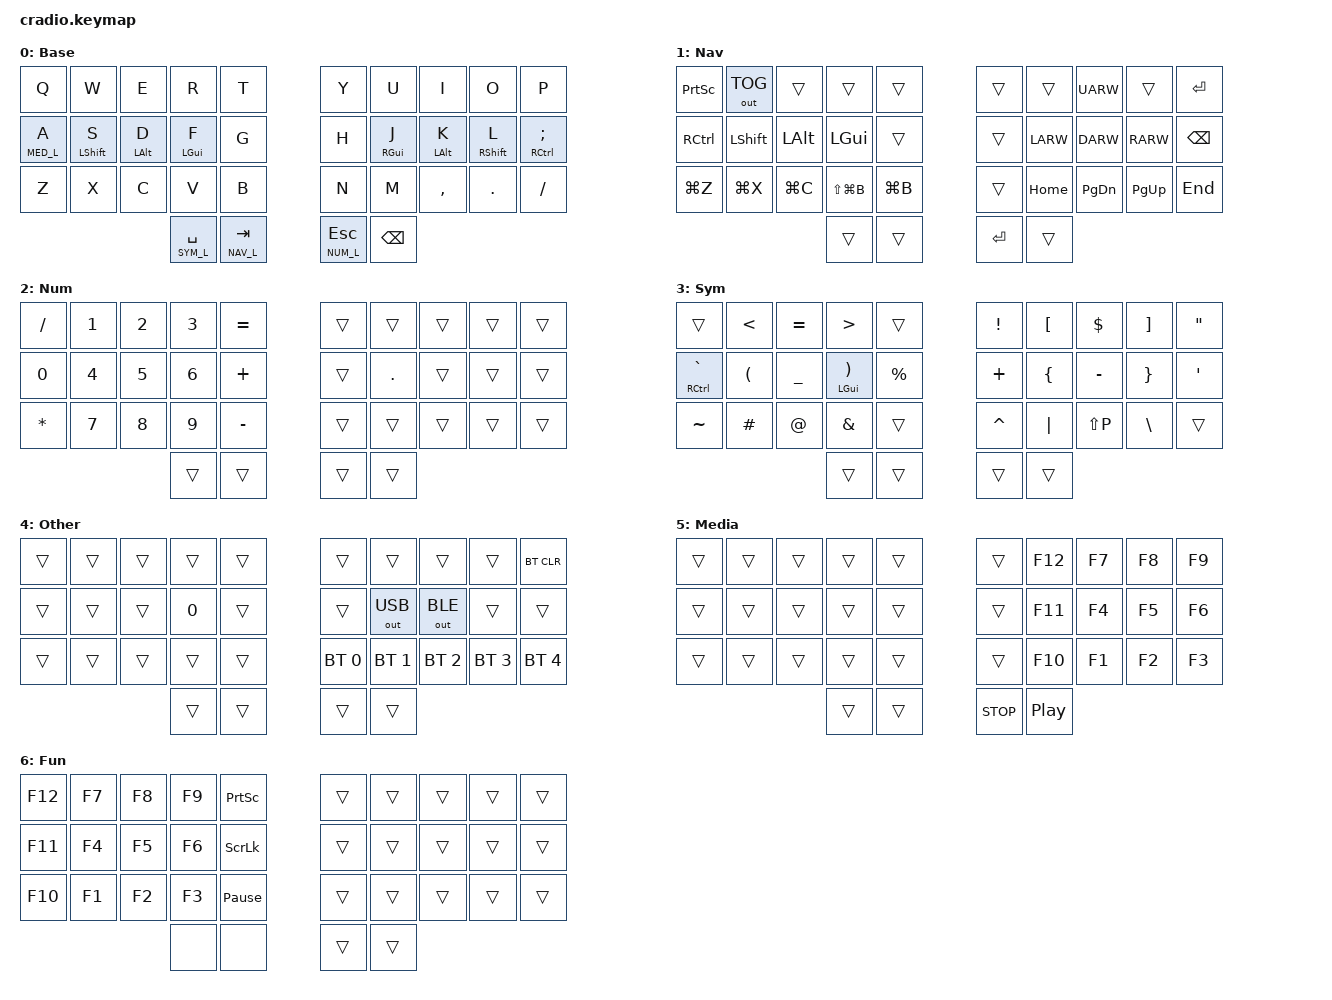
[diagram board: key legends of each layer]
/*
 * Copyright (c) 2021 Pete Johanson
 *
 * SPDX-License-Identifier: MIT
 */

#include <behaviors.dtsi>
#include <dt-bindings/zmk/keys.h>
#include <dt-bindings/zmk/bt.h>
#include <dt-bindings/zmk/outputs.h>

#define NAV_L 1
#define OTH_L 4
#define NUM_L 2
#define SYM_L 3
#define MED_L 5
#define FUN_L 6

// Using layer taps on thumbs, having quick tap as well helps w/ repeating space/backspace 
&lt { quick_tap_ms = <200>; };
/ {
     prog_caps: behavior_prog_caps_word {
        compatible = "zmk,behavior-caps-word";
        label = "PROG_CAPS";
        #binding-cells = <0>;
         continue-list = <UNDERSCORE MINUS SCLN>;
    };
    combos {
        compatible = "zmk,combos";
        combo_caps { 
            timeout-ms = <50>;
            key-positions = <0 1>;
            bindings = <&prog_caps>;
        };
        combo_quote { 
            timeout-ms = <50>;
            key-positions = <7 8>;
            bindings = <&kp SQT>;
        };

    };
    conditional_layers {
        compatible = "zmk,conditional-layers";
        tri_layer {
            if-layers = <1 2>;
            then-layer = <4>;
        };
    };

    behaviors {
         hm_l: left_hand_positional_hold_tap {
            compatible = "zmk,behavior-hold-tap";
            label = "POSITIONAL_HOLD_TAP_LEFT";
            #binding-cells = <2>;
            flavor = "balanced";
            tapping-term-ms = <200>;                        
            bindings = <&kp>, <&kp>;
            hold-trigger-key-positions = <5 6 7 8 9  12 13 14  15 16 17 18 19  25 26 27 28 29  31 32 33>;    // <---[[right-hand keys + thumbs]]
        };
        hm_r: right_hand_positional_hold_tap {
            compatible = "zmk,behavior-hold-tap";
            label = "POSITIONAL_HOLD_TAP_RIGHT";
            #binding-cells = <2>;
            flavor = "balanced";
            tapping-term-ms = <200>;                        
            bindings = <&kp>, <&kp>;
            hold-trigger-key-positions = <0 1 2 3 4  10 11 12 13 14  16 17 18  20 21 22 23 24  30 31 32 33>;    // <---[[left-hand keys + thumbs]]
        };
        hm: common_hold_tap {
            compatible = "zmk,behavior-hold-tap";
            label = "POSITIONAL_HOLD_TAP_RIGHT";
            #binding-cells = <2>;
            flavor = "tap-preferred";
            tapping-term-ms = <300>;   
            quick-tap-ms = <200>;
            bindings = <&kp>, <&kp>;
        };
    };

    keymap {
        compatible = "zmk,keymap";

        default_layer {
            label = "Base";
            bindings = <
                &kp Q      &kp W      &kp E       &kp R          &kp T         &kp Y            &kp U          &kp I       &kp O      &kp P
                &lt MED_L A &hm_l LSHFT S &hm_l LALT D &hm_l LGUI F    &kp G         &kp H            &hm_r RGUI J     &hm_r LALT K &hm_r RSHIFT L &hm_r RCTRL SCLN
                &kp Z      &kp X      &kp C       &kp V          &kp B         &kp N            &kp M          &kp COMMA   &kp DOT    &kp FSLH
                                                  &lt SYM_L SPACE &lt NAV_L TAB  &lt NUM_L ESC &kp BKSP
            >;
        };

        nav_layer {
            label = "Nav";
            bindings = <
                &kp PRINTSCREEN     &out OUT_TOG   &trans      &trans          &trans       &trans           &trans         &kp UARW      &trans     &kp RET
                &kp RCTRL &kp LSHFT &kp LALT &kp LGUI         &trans       &trans           &kp LARW       &kp DARW    &kp RARW     &kp BKSP
                &kp LG(Z)      &kp LG(X)      &kp LG(C)           &kp LS(LG(B))          &kp LG(B)        &trans           &kp HOME       &kp PG_DN   &kp PG_UP  &kp END
                                                  &trans          &trans       &kp RET          &trans
            >;
        };


        num_layer {
            label = "Num";
            bindings = <
                &kp FSLH   &kp N1    &kp N2      &kp N3          &kp EQUAL      &trans          &trans         &trans      &trans     &trans
                &kp  N0     &kp N4     &kp N5      &kp N6          &kp PLUS     &trans         &kp DOT         &trans      &trans     &trans
                &kp STAR  &kp N7     &kp N8      &kp N9          &kp MINUS      &trans          &trans         &trans      &trans     &trans
                                                  &trans          &trans     &trans          &trans
            >;
        };

        sym_layer {
            label = "Sym";
            bindings = <
                &trans     &kp LT    &kp  EQUAL   &kp GT     &trans          &kp EXCLAMATION &kp LBKT   &kp DLLR    &kp RBKT   &kp DOUBLE_QUOTES
                &hm_l RCTRL GRAVE    &kp LPAR  &kp UNDERSCORE  &hm_l LGUI RPAR &kp PERCENT         &kp PLUS &kp LBRC   &kp MINUS    &kp RBRC   &kp SINGLE_QUOTE
                &kp TILDE    &kp HASH  &kp AT &kp AMPERSAND &trans         &kp CARET &kp PIPE   &kp LS(P)    &kp BSLH    &trans
                                                   &trans &trans     &trans &trans
            >;
        };

        other_layer {
            label = "Other";
            bindings = <
                &trans	   &trans     &trans      &trans          &trans       &trans           &trans         &trans       &trans       &bt BT_CLR
                &trans     &trans     &trans      &kp N0          &trans       &trans           &out OUT_USB   &out OUT_BLE       &trans       &trans
                &trans     &trans     &trans      &trans          &trans       &bt BT_SEL 0     &bt BT_SEL 1   &bt BT_SEL 2 &bt BT_SEL 3 &bt BT_SEL 4
                                                  &trans          &trans       &trans           &trans
            >;
        };

        media_layer {
            label = "Media";
            bindings = <
                &trans	   &trans     &trans      &trans          &trans       &trans           &kp F12     &kp F7     &kp F8      &kp F9
                &trans     &trans     &trans      &trans          &trans       &trans           &kp F11     &kp F4     &kp F5      &kp F6
                &trans     &trans     &trans      &trans          &trans       &trans           &kp F10     &kp F1     &kp F2      &kp F3
                                                  &trans          &trans       &kp C_STOP       &kp C_PLAY_PAUSE
            >;
        };

        fun_layer {
            label = "Fun";
            bindings = <
                &kp F12     &kp F7     &kp F8      &kp F9     &kp PSCRN         &trans          &trans         &trans      &trans     &trans
                &kp F11     &kp F4     &kp F5      &kp F6     &kp SLCK          &trans          &trans         &trans      &trans     &trans
                &kp F10     &kp F1     &kp F2      &kp F3     &kp PAUSE_BREAK   &trans          &trans         &trans      &trans     &trans
                                                   &none      &none             &trans          &trans
            >;
        };
    };
};
